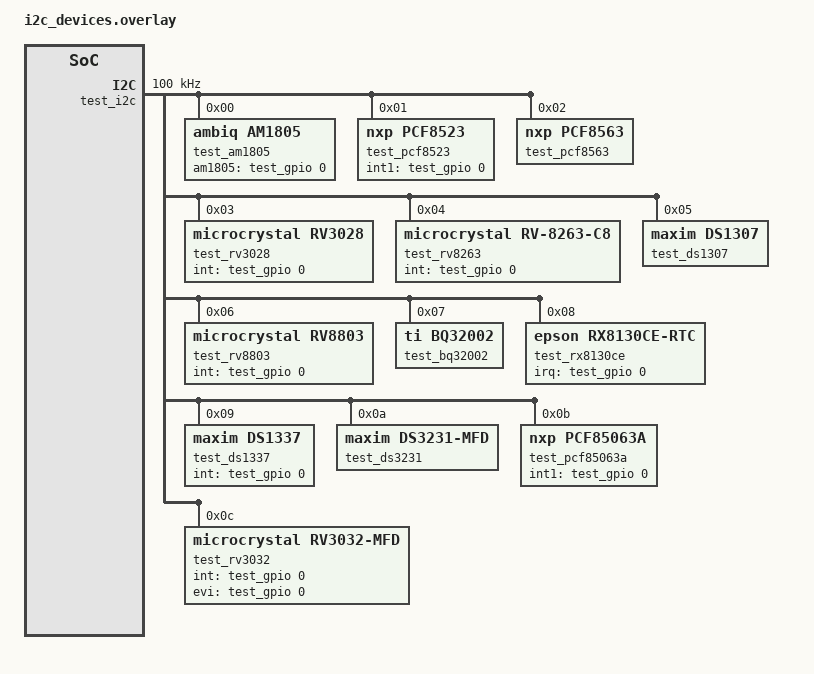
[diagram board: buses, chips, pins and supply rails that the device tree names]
/*
 * Copyright (c) 2024 TOKITA Hiroshi
 * SPDX-License-Identifier: Apache-2.0
 */

/ {
	test {
		#address-cells = <1>;
		#size-cells = <1>;

		test_gpio: gpio@deadbeef {
			compatible = "vnd,gpio";
			gpio-controller;
			reg = <0xdeadbeef 0x1000>;
			#gpio-cells = <0x2>;
		};

		test_i2c: i2c@11112222 {
			#address-cells = <1>;
			#size-cells = <0>;
			compatible = "vnd,i2c";
			reg = <0x11112222 0x1000>;
			clock-frequency = <100000>;

			test_am1805: am1805@0 {
				compatible = "ambiq,am1805";
				reg = <0x0>;
				am1805-gpios = <&test_gpio 0 0>;
			};

			test_pcf8523: pcf8523@1 {
				compatible = "nxp,pcf8523";
				reg = <0x1>;
				alarms-count = <1>;
				battery-switch-over = "standard";
				int1-gpios = <&test_gpio 0 0>;
			};

			test_pcf8563: pcf8563@2 {
				compatible = "nxp,pcf8563";
				reg = <0x2>;
			};

			test_rv3028: rv3028@3 {
				compatible = "microcrystal,rv3028";
				reg = <0x3>;
				clkout-frequency = <1>;
				backup-switch-mode = "disabled";
				trickle-resistor-ohms = <3000>;
				int-gpios = <&test_gpio 0 0>;
			};

			test_rv8263: rv8263@4 {
				compatible = "microcrystal,rv-8263-c8";
				reg = <0x4>;
				int-gpios = <&test_gpio 0 0>;
				clkout = <4096>;
			};

			test_ds1307: ds1307@5 {
				compatible = "maxim,ds1307";
				reg = <0x5>;
			};

			test_rv8803: rv8803@6 {
				compatible = "microcrystal,rv8803";
				reg = <0x6>;
				int-gpios = <&test_gpio 0 0>;
				clkout-frequency = <1024>;
			};

			test_bq32002: bq32002@7 {
				compatible = "ti,bq32002";
				reg = <0x7>;
				irq-frequency = <512>;
			};

			test_rx8130ce: rx8130ce-rtc@8 {
				compatible = "epson,rx8130ce-rtc";
				reg = <0x8>;
				irq-gpios = <&test_gpio 0 0>;
			};

			test_ds1337: ds1337@9 {
				compatible = "maxim,ds1337";
				reg = <0x9>;
				int-gpios = <&test_gpio 0 0>;
				sqw-frequency = <4096>;
			};

			test_ds3231: ds3231@a {
				compatible = "maxim,ds3231-mfd";
				reg = <0xa>;

				test_ds3231_rtc: ds3231_rtc {
					compatible = "maxim,ds3231-rtc";
					isw-gpios = <&test_gpio 0 0>;
					freq-32khz-gpios = <&test_gpio 0 0>;
				};
			};

			test_pcf85063a: pcf85063a@b {
				compatible = "nxp,pcf85063a";
				reg = <0xb>;
				int1-gpios = <&test_gpio 0 0>;
			};

			test_rv3032: rv3032c7@c {
				compatible = "microcrystal,rv3032-mfd";
				reg = <0xc>;
				int-gpios = <&test_gpio 0 0>;
				evi-gpios = <&test_gpio 0 0>;
				backup-switch-mode = "disabled";
				always-on;
				status = "okay";

				test_rv3032_rtc: rv3032_rtc {
					compatible = "microcrystal,rv3032";
					trickle-resistor-ohms = <600>;
					trickle-charger-mode = <1750>;
					status = "okay";
				};
			};
		};
	};
};
